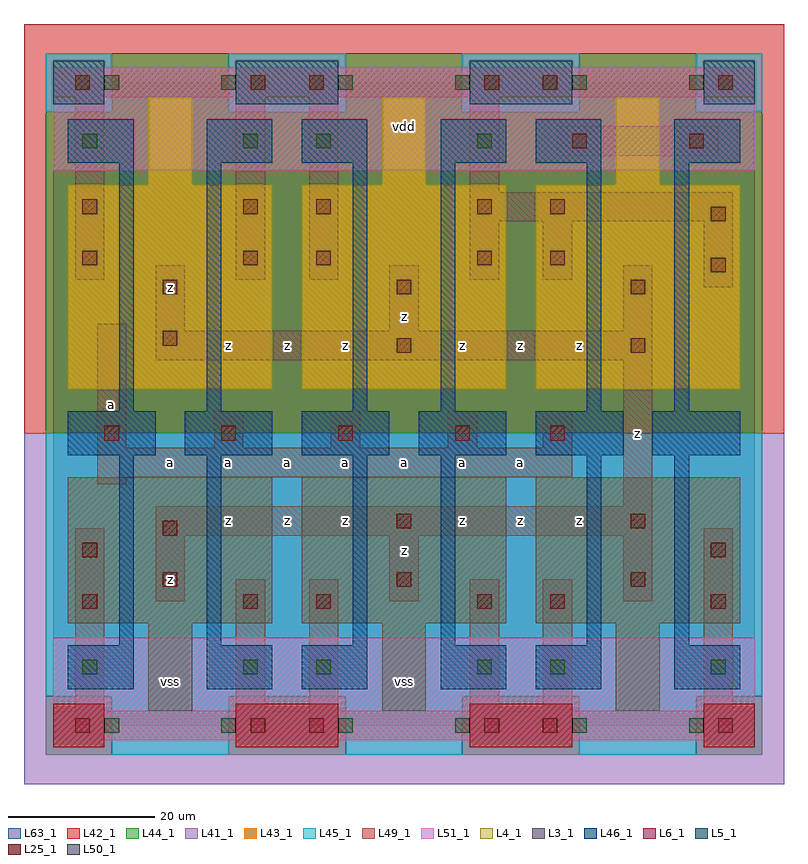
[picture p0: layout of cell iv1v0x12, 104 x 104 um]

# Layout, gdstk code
import gdstk
lib = gdstk.Library(unit=1e-6, precision=1e-09)
def R(c, l, rs):  # rectangles x0, y0, x1, y1
    for r in rs: c.add(gdstk.rectangle(r[:2], r[2:], *l))
def A(c, l, x, y, w, h, nx, ny, dx, dy):  # array of equal rectangles
    R(c, l, [(x+i*dx, y+j*dy, x+i*dx+w, y+j*dy+h) for i in range(nx) for j in range(ny)])
L3_1 = (3, 1)
L4_1 = (4, 1)
L5_1 = (5, 1)
L6_1 = (6, 1)
L25_1 = (25, 1)
L41_1 = (41, 1)
L42_1 = (42, 1)
L43_1 = (43, 1)
L44_1 = (44, 1)
L45_1 = (45, 1)
L46_1 = (46, 1)
L49_1 = (49, 1)
L50_1 = (50, 1)
L51_1 = (51, 1)
L63_1 = (63, 1)

iv1v0x12 = lib.new_cell('iv1v0x12')
A(iv1v0x12, L3_1, 13, 2, 6, 12, 3, 1, 32, 0)
A(iv1v0x12, L3_1, 2, 14, 28, 20, 3, 1, 32, 0)
A(iv1v0x12, L4_1, 2, 46, 28, 28, 3, 1, 32, 0)
A(iv1v0x12, L4_1, 13, 74, 6, 12, 3, 1, 32, 0)
R(iv1v0x12, L5_1, [(0,85,7,91), (25,85,39,91), (57,85,71,91), (89,85,96,91)])
R(iv1v0x12, L6_1, [(0,-3,7,3), (0,-3,7,3), (25,-3,39,3), (25,-3,39,3), (57,-3,71,3), (57,-3,71,3), (89,-3,96,3), (89,-3,96,3)])
A(iv1v0x12, L25_1, 15, 19, 2, 2, 3, 2, 32, 40)
A(iv1v0x12, L25_1, 7, 39, 2, 2, 4, 1, 16, 0)
R(iv1v0x12, L25_1, [(3,-1,5,1), (27,-1,29,1), (35,-1,37,1), (59,-1,61,1), (67,-1,69,1), (91,-1,93,1), (4,16,6,18), (26,16,28,18), (36,16,38,18), (58,16,60,18), (68,16,70,18), (90,16,92,18), (4,23,6,25), (90,23,92,25), (15,26,17,28), (47,27,49,29), (79,27,81,29), (68,39,70,41), (47,51,49,53), (79,51,81,53), (15,52,17,54), (90,62,92,64), (4,63,6,65), (26,63,28,65), (36,63,38,65), (58,63,60,65), (68,63,70,65), (90,69,92,71), (4,70,6,72), (26,70,28,72), (36,70,38,72), (58,70,60,72), (68,70,70,72), (71,79,73,81), (87,79,89,81), (3,87,5,89), (27,87,29,89), (35,87,37,89), (59,87,61,89), (67,87,69,89), (91,87,93,89)])
R(iv1v0x12, L41_1, [(-4,-8,100,40)])
R(iv1v0x12, L42_1, [(-4,40,100,96)])
A(iv1v0x12, L43_1, 13, 2, 6, 12, 3, 2, 32, 72)
A(iv1v0x12, L43_1, 2, 14, 28, 20, 3, 1, 32, 0)
A(iv1v0x12, L43_1, 2, 46, 28, 28, 3, 1, 32, 0)
R(iv1v0x12, L43_1, [(0,-3,7,3), (25,-3,39,3), (57,-3,71,3), (89,-3,96,3), (0,85,7,91), (25,85,39,91), (57,85,71,91), (89,85,96,91)])
A(iv1v0x12, L44_1, 8, 84, 16, 8, 3, 1, 32, 0)
R(iv1v0x12, L44_1, [(-1,-4,8,4), (24,-4,40,4), (56,-4,72,4), (88,-4,97,4), (-1,40,97,84)])
A(iv1v0x12, L45_1, 8, -4, 16, 8, 3, 1, 32, 0)
R(iv1v0x12, L45_1, [(-1,4,97,40), (-1,84,8,92), (24,84,40,92), (56,84,72,92), (88,84,97,92)])
A(iv1v0x12, L46_1, 2, 37, 12, 6, 6, 1, 16, 0)
R(iv1v0x12, L46_1, [(2,5,11,11), (21,5,30,11), (34,5,43,11), (53,5,62,11), (66,5,75,11), (85,5,94,11), (9,11,11,37), (21,11,23,37), (41,11,43,37), (53,11,55,37), (73,11,75,37), (85,11,87,37), (9,43,11,77), (21,43,23,77), (41,43,43,77), (53,43,55,77), (73,43,75,77), (85,43,87,77), (2,77,11,83), (21,77,30,83), (34,77,43,83), (53,77,62,83), (66,77,75,83), (85,77,94,83)])
A(iv1v0x12, L49_1, 14, 17, 4, 9, 3, 2, 32, 37)
A(iv1v0x12, L49_1, 22, 38, 4, 5, 3, 1, 16, 0)
R(iv1v0x12, L49_1, [(0,-2,96,2), (3,2,7,27), (25,2,29,20), (35,2,39,20), (57,2,61,20), (67,2,71,20), (89,2,93,27), (14,26,82,30), (78,30,82,50), (6,33,10,34), (6,34,71,38), (6,38,10,55), (67,38,71,43), (14,50,82,54), (89,60,93,69), (3,61,7,86), (25,61,29,86), (35,61,39,86), (57,61,61,69), (67,61,71,69), (57,69,93,73), (57,73,61,86), (69,78,91,82), (0,86,96,90)])
A(iv1v0x12, L50_1, 7, -1, 2, 2, 6, 2, 16, 88)
R(iv1v0x12, L50_1, [(4,7,6,9), (26,7,28,9), (36,7,38,9), (58,7,60,9), (68,7,70,9), (90,7,92,9), (4,79,6,81), (26,79,28,81), (36,79,38,81), (58,79,60,81)])
R(iv1v0x12, L51_1, [(0,-2,96,12), (0,76,96,90)])
R(iv1v0x12, L63_1, [(0,0,96,88)])
iv1v0x12.add(gdstk.Label('a', (8,44), layer=49, texttype=1))
iv1v0x12.add(gdstk.Label('z', (16,20), layer=49, texttype=1))
iv1v0x12.add(gdstk.Label('z', (24,28), layer=49, texttype=1))
iv1v0x12.add(gdstk.Label('z', (32,28), layer=49, texttype=1))
iv1v0x12.add(gdstk.Label('a', (24,36), layer=49, texttype=1))
iv1v0x12.add(gdstk.Label('a', (32,36), layer=49, texttype=1))
iv1v0x12.add(gdstk.Label('a', (16,36), layer=49, texttype=1))
iv1v0x12.add(gdstk.Label('z', (24,52), layer=49, texttype=1))
iv1v0x12.add(gdstk.Label('z', (32,52), layer=49, texttype=1))
iv1v0x12.add(gdstk.Label('z', (16,60), layer=49, texttype=1))
iv1v0x12.add(gdstk.Label('z', (40,28), layer=49, texttype=1))
iv1v0x12.add(gdstk.Label('z', (56,28), layer=49, texttype=1))
iv1v0x12.add(gdstk.Label('z', (48,24), layer=49, texttype=1))
iv1v0x12.add(gdstk.Label('a', (48,36), layer=49, texttype=1))
iv1v0x12.add(gdstk.Label('a', (56,36), layer=49, texttype=1))
iv1v0x12.add(gdstk.Label('a', (40,36), layer=49, texttype=1))
iv1v0x12.add(gdstk.Label('z', (56,52), layer=49, texttype=1))
iv1v0x12.add(gdstk.Label('z', (48,56), layer=49, texttype=1))
iv1v0x12.add(gdstk.Label('z', (40,52), layer=49, texttype=1))
iv1v0x12.add(gdstk.Label('z', (64,28), layer=49, texttype=1))
iv1v0x12.add(gdstk.Label('z', (72,28), layer=49, texttype=1))
iv1v0x12.add(gdstk.Label('a', (64,36), layer=49, texttype=1))
iv1v0x12.add(gdstk.Label('z', (64,52), layer=49, texttype=1))
iv1v0x12.add(gdstk.Label('z', (72,52), layer=49, texttype=1))
iv1v0x12.add(gdstk.Label('z', (80,40), layer=49, texttype=1))
iv1v0x12.add(gdstk.Label('vss', (16,6), layer=51, texttype=1))
iv1v0x12.add(gdstk.Label('vss', (48,6), layer=51, texttype=1))
iv1v0x12.add(gdstk.Label('vdd', (48,82), layer=51, texttype=1))

lib.write_gds('iv1v0x12.gds')
